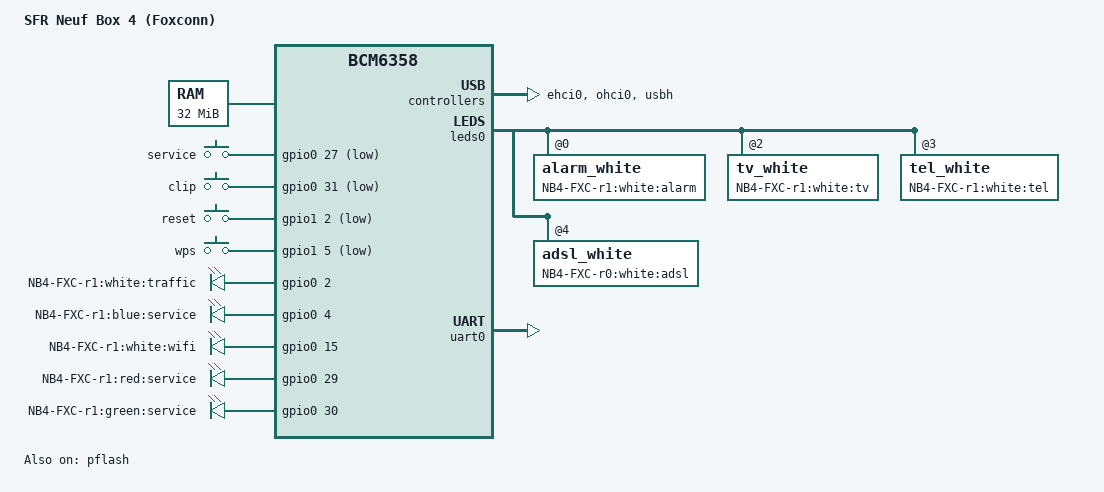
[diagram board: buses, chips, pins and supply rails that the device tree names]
/dts-v1/;

#include "bcm6358.dtsi"

/ {
	model = "SFR Neuf Box 4 (Foxconn)";
	compatible = "sfr,nb4-fxc-r1", "brcm,bcm6358";

	memory@0 {
		device_type = "memory";
		reg = <0x00000000 0x02000000>;
	};

	chosen {
		bootargs = "earlycon";
		stdout-path = "uart0:115200";
	};

	gpio-keys-polled {
		compatible = "gpio-keys-polled";
		#address-cells = <1>;
		#size-cells = <0>;
		poll-interval = <20>;
		debounce-interval = <60>;

		service {
			label = "service";
			gpios = <&gpio0 27 GPIO_ACTIVE_LOW>;
			linux,code = <BTN_0>;
		};
		clip {
			label = "clip";
			gpios = <&gpio0 31 GPIO_ACTIVE_LOW>;
			linux,code = <BTN_1>;
		};
		reset {
			label = "reset";
			gpios = <&gpio1 2 GPIO_ACTIVE_LOW>;
			linux,code = <KEY_RESTART>;
		};
		wps {
			label = "wps";
			gpios = <&gpio1 5 GPIO_ACTIVE_LOW>;
			linux,code = <KEY_WPS_BUTTON>;
		};
	};

	gpio-leds {
		compatible = "gpio-leds";

		traffic_white {
			label = "NB4-FXC-r1:white:traffic";
			gpios = <&gpio0 2 GPIO_ACTIVE_HIGH>;
		};
		service_blue {
			label = "NB4-FXC-r1:blue:service";
			gpios = <&gpio0 4 GPIO_ACTIVE_HIGH>;
		};
		wifi_white {
			label = "NB4-FXC-r1:white:wifi";
			gpios = <&gpio0 15 GPIO_ACTIVE_HIGH>;
		};
		service_red {
			label = "NB4-FXC-r1:red:service";
			gpios = <&gpio0 29 GPIO_ACTIVE_HIGH>;
		};
		service_green {
			label = "NB4-FXC-r1:green:service";
			gpios = <&gpio0 30 GPIO_ACTIVE_HIGH>;
		};
	};
};

&ehci0 {
	status = "ok";
};

&leds0 {
	status = "ok";
	brcm,clk-div = <1>;

	alarm_white@0 {
		reg = <0>;
		active-low;
		label = "NB4-FXC-r1:white:alarm";
	};
	tv_white@2 {
		reg = <2>;
		active-low;
		label = "NB4-FXC-r1:white:tv";
	};
	tel_white@3 {
		reg = <3>;
		active-low;
		label = "NB4-FXC-r1:white:tel";
	};
	adsl_white@4 {
		reg = <4>;
		active-low;
		label = "NB4-FXC-r0:white:adsl";
	};
};

&ohci0 {
	status = "ok";
};

&pflash {
	status = "ok";

	partitions {
		cfe@0 {
			label = "cfe";
			reg = <0x000000 0x010000>;
			read-only;
		};
		linux@10000 {
			label = "linux";
			reg = <0x010000 0x7e0000>;
		};
		nvram@7f0000 {
			label = "nvram";
			reg = <0x7f0000 0x010000>;
		};
	};
};

&uart0 {
	status = "ok";
};

&usbh {
	status = "ok";
};
